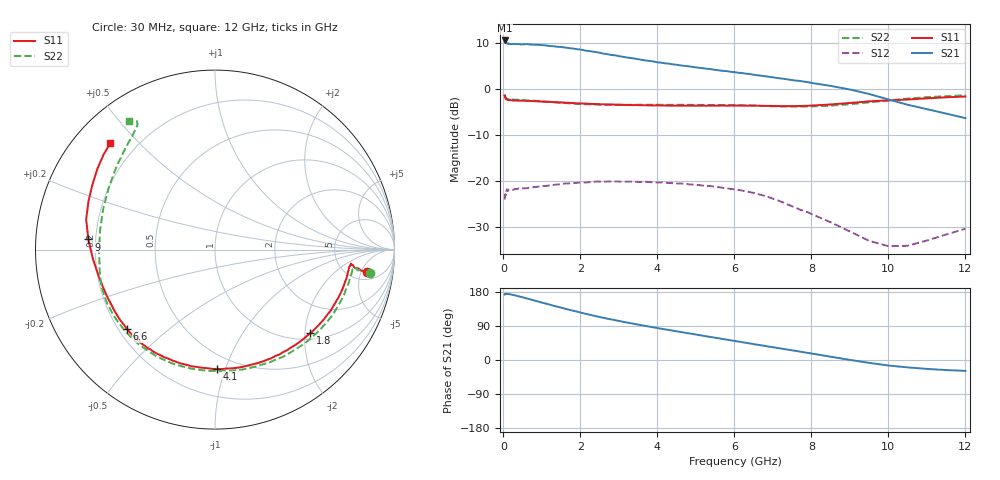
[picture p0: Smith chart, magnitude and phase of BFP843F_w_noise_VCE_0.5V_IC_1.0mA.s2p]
! Infineon Technologies  Discrete & RF Semiconductors
! BFP843F
! VCE =  0.5 V,  IC =  1.0 mA
! Common Emitter S-Parameters:  Aug 2013
# GHz  S  MA  R  50
!  f  S11  S21  S12  S22
! GHz  MAG  ANG  MAG  ANG  MAG  ANG  MAG  ANG
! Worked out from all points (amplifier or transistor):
!   103 points, 30 MHz to 12 GHz, reference 50 ohm
!   highest |S21| = 10.6 dB at 30 MHz (marker M1)
!   |S21| within 3 dB of that: start of sweep to 2.711 GHz
!   unconditionally stable (mu >= 1): 101 MHz to 741.9 MHz; 5.098 GHz to end of sweep
!   at 400 MHz: K = 1.02, MAG = 14.8 dB, |S12| = -21.5 dB
!   at 3.7 GHz: K = 0.89, MSG = 13.2 dB, |S12| = -20.1 dB
!   at 12 GHz: K = 2.79, MAG = 4.7 dB, |S12| = -30.3 dB
!   lowest NFmin = 1.53 dB at 450 MHz
!   S11 on the Smith chart (normalised r, x): 30 MHz: 6.90, -6.28; 1.8 GHz: 1.15, -2.13; 4.1 GHz: 0.39, -0.94; 6.6 GHz: 0.23, -0.37; 9 GHz: 0.17, +0.04; 12 GHz: 0.11, +0.41
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0.03  0.8538 -8.3  3.375 172.7  0.0633 38.8  0.8722 -8.6
0.04  0.8238 -8.2  3.285 172.5  0.0695 32.3  0.8379 -8.4
0.05  0.806 -7.5  3.203 174.2  0.0727 28.0  0.8227 -7.9
0.07  0.7806 -7.2  3.146 174.2  0.0777 19.2  0.7987 -7.6
0.15  0.7607 -6.2  3.094 174.0  0.0806 10.7  0.7744 -8.1
0.6  0.7459 -14.6  3.079 162.6  0.0842 3.9  0.7576 -22.2
0.9  0.7376 -21.2  3.022 154.3  0.0874 3.0  0.7428 -32.7
1.3  0.7232 -30.1  2.924 143.3  0.0916 1.2  0.722 -46.8
1.8  0.7063 -41.2  2.762 130.2  0.0956 -2.6  0.6981 -64.0
2.1  0.6975 -47.7  2.637 122.7  0.0971 -5.2  0.6873 -73.9
2.5  0.6861 -56.3  2.483 113.4  0.0994 -8.7  0.6781 -86.0
3.1  0.6763 -68.7  2.245 101.0  0.0991 -14.4  0.6765 -101.1
4.1  0.665 -89.0  1.937 82.5  0.0975 -24.0  0.6764 -120.9
5.3  0.6609 -113.3  1.662 62.0  0.0892 -36.3  0.6737 -141.7
6.1  0.665 -128.3  1.505 48.7  0.0806 -45.2  0.6699 -155.0
6.6  0.6612 -137.8  1.414 40.3  0.0729 -51.4  0.6625 -163.4
7.7  0.6566 -159.9  1.228 22.2  0.0493 -59.9  0.645 177.2
8.5  0.6821 -175.6  1.084 8.7  0.036 -58.0  0.6623 160.4
9  0.7077 175.4  0.991 0.3  0.0286 -52.6  0.686 149.5
10  0.7551 158.9  0.773 -14.6  0.0198 -25.2  0.7545 131.3
10.5  0.7725 152.2  0.677 -19.5  0.02 -6.7  0.7888 125.2
12  0.8319 134.6  0.485 -28.7  0.0306 22.4  0.8594 123.8
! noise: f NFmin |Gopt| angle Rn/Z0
0.45  1.53  0.43  11  0.36
0.9  1.54  0.44  19  0.36
1.5  1.7  0.44  27  0.37
1.9  1.8  0.43  38  0.38
2.4  1.86  0.43  49  0.39
3.5  2.02  0.46  72  0.44
5.5  2.23  0.42  117  0.53
10  4.06  0.58  -144  0.6
